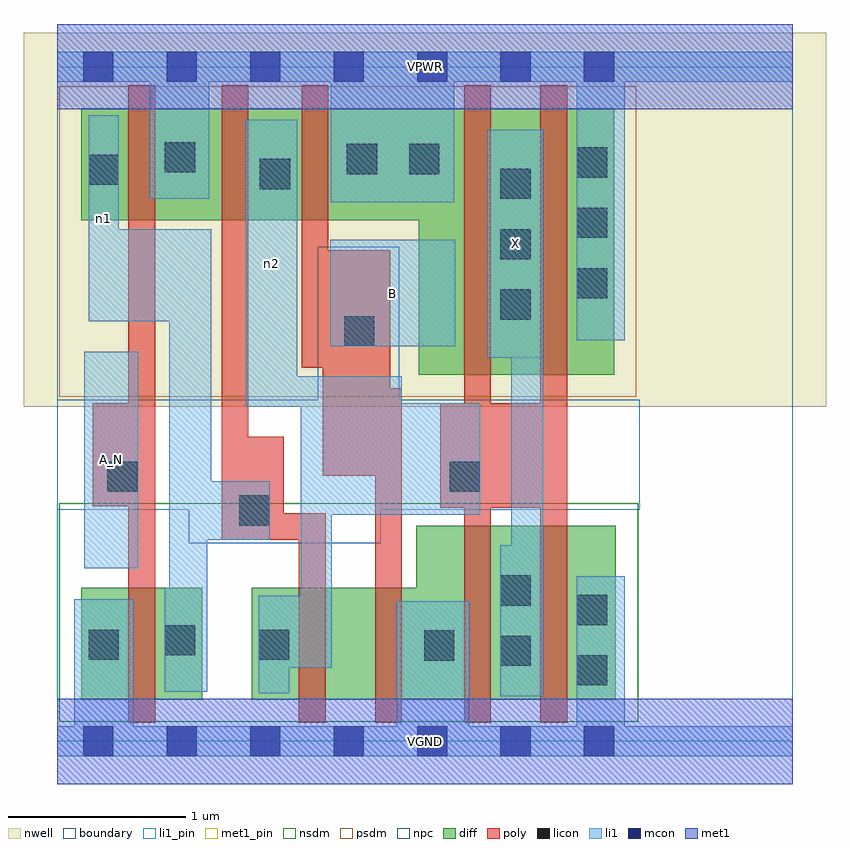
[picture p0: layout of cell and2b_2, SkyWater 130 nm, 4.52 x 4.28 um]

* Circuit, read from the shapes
.subckt and2b_2 A_N B VGND VPWR X n1 n2
XM1 n1 A_N VGND VSUBS sky130_fd_pr__nfet_01v8 w=0.63 l=0.15
XM2 n3 n1 n2 VSUBS sky130_fd_pr__nfet_01v8 w=0.63 l=0.15
XM3 VGND B n3 VSUBS sky130_fd_pr__nfet_01v8 w=0.63 l=0.15
XM4 X n2 VGND VSUBS sky130_fd_pr__nfet_01v8 w=0.98 l=0.15 m=2
XM5 VPWR A_N n1 n4 sky130_fd_pr__pfet_01v8 w=0.63 l=0.15
XM6 n2 n1 VPWR n4 sky130_fd_pr__pfet_01v8 w=0.63 l=0.15
XM7 VPWR B n2 n4 sky130_fd_pr__pfet_01v8 w=0.63 l=0.15
XM8 X n2 VPWR n4 sky130_fd_pr__pfet_01v8 w=1.5 l=0.15 m=2
.ends

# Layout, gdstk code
import gdstk
lib = gdstk.Library(unit=1e-6, precision=1e-09)
def R(c, l, rs):  # rectangles x0, y0, x1, y1
    for r in rs: c.add(gdstk.rectangle(r[:2], r[2:], *l))
def A(c, l, x, y, w, h, nx, ny, dx, dy):  # array of equal rectangles
    R(c, l, [(x+i*dx, y+j*dy, x+i*dx+w, y+j*dy+h) for i in range(nx) for j in range(ny)])
nwell = (64, 20)
diff = (65, 20)
poly = (66, 20)
licon = (66, 44)
li1_pin = (67, 16)
li1 = (67, 20)
mcon = (67, 44)
met1_pin = (68, 16)
met1 = (68, 20)
nsdm = (93, 44)
psdm = (94, 20)
npc = (95, 20)
boundary = (235, 4)

and2b_2 = lib.new_cell('and2b_2')
R(and2b_2, nwell, [(-0.19,1.885,4.33,3.99), (0,1.885,4.14,3.99)])
R(and2b_2, diff, [(0.135,0.235,0.815,0.865), (1.095,0.235,3.145,0.865), (2.02,0.235,3.145,1.215), (2.035,2.065,3.135,3.565), (0.135,2.935,3.135,3.565)])
R(and2b_2, poly, [(0.4,0.105,0.55,3.695), (1.36,0.105,1.51,1.285), (1.79,0.105,1.94,1.99), (2.29,0.105,2.44,3.695), (2.72,0.105,2.87,3.695), (0.925,1.135,1.275,1.715), (0.925,1.135,1.075,3.695), (0.925,1.135,1.51,1.285), (2.155,1.315,2.87,1.905), (0.2,1.325,0.55,1.905), (1.495,1.495,1.875,2.765), (1.375,2.105,1.525,3.695)])
A(and2b_2, licon, 2.495, 2.375, 0.17, 0.17, 1, 3, 0, 0.34)
A(and2b_2, licon, 2.925, 2.495, 0.17, 0.17, 1, 3, 0, 0.34)
R(and2b_2, licon, [(2.925,0.315,3.095,0.485), (2.495,0.425,2.665,0.595), (2.065,0.455,2.235,0.625), (0.175,0.46,0.345,0.63), (1.135,0.46,1.305,0.63), (0.605,0.485,0.775,0.655), (2.925,0.655,3.095,0.825), (2.495,0.765,2.665,0.935), (1.025,1.215,1.195,1.385), (0.28,1.405,0.45,1.575), (2.21,1.405,2.38,1.575), (1.615,2.225,1.785,2.395), (1.14,3.11,1.31,3.28), (0.175,3.135,0.345,3.305), (1.63,3.195,1.8,3.365), (1.98,3.195,2.15,3.365), (0.605,3.205,0.775,3.375)])
R(and2b_2, li1_pin, [(0.15,0.975,0.455,2.195), (2.42,2.16,2.735,3.445), (1.535,2.225,2.24,2.825)])
R(and2b_2, li1, [(0,-0.085,4.14,0.085), (0.095,-0.085,0.43,0.8), (1.91,-0.085,2.32,0.79), (2.925,-0.085,3.195,0.93), (2.495,0.255,2.735,1.105), (2.555,0.255,2.735,3.445), (1.135,0.27,1.305,0.82), (0.605,0.28,0.845,0.865), (0.63,0.28,0.845,2.885), (1.135,0.415,1.545,0.82), (1.37,0.415,1.545,2.055), (0.15,0.975,0.455,2.195), (0.63,1.135,1.195,1.465), (0.63,1.135,0.865,2.885), (1.37,1.275,2.38,1.905), (1.06,1.885,1.35,3.5), (1.06,1.885,1.94,2.055), (2.42,2.16,2.735,3.445), (1.535,2.225,2.24,2.825), (2.925,2.26,3.195,3.885), (0.175,2.365,0.345,3.525), (0.175,2.365,0.865,2.885), (1.54,3.035,2.235,3.885), (0.52,3.055,0.855,3.885), (0,3.715,4.14,3.885)])
A(and2b_2, mcon, 0.145, -0.085, 0.17, 0.17, 7, 2, 0.47, 3.8)
R(and2b_2, met1_pin, [(0,-0.24,4.14,0.24), (0,3.56,4.14,4.04)])
R(and2b_2, met1, [(0,-0.24,4.14,0.24), (0,3.56,4.14,4.04)])
R(and2b_2, nsdm, [(0.01,0.11,3.27,1.34)])
R(and2b_2, psdm, [(0.01,1.94,3.26,3.69)])
R(and2b_2, npc, [(0.74,1.115,1.82,1.925), (0,1.305,3.28,1.925), (1.465,1.305,1.925,2.785)])
R(and2b_2, boundary, [(0,0,4.14,3.8)])
and2b_2.add(gdstk.Label('A_N', (0.302,1.585), layer=67, texttype=5))
and2b_2.add(gdstk.Label('B', (1.887,2.525), layer=67, texttype=5))
and2b_2.add(gdstk.Label('X', (2.577,2.802), layer=67, texttype=5))
and2b_2.add(gdstk.Label('n2', (1.205,2.692), layer=67, texttype=5))
and2b_2.add(gdstk.Label('n1', (0.26,2.945), layer=67, texttype=5))
and2b_2.add(gdstk.Label('VPWR', (2.07,3.8), layer=68, texttype=5))
and2b_2.add(gdstk.Label('VGND', (2.07,0), layer=68, texttype=5))
and2b_2.add(gdstk.Label('A_N', (0.302,1.585), layer=67, texttype=16))
and2b_2.add(gdstk.Label('B', (1.887,2.525), layer=67, texttype=16))
and2b_2.add(gdstk.Label('X', (2.577,2.802), layer=67, texttype=16))
and2b_2.add(gdstk.Label('VPWR', (2.07,3.8), layer=68, texttype=16))
and2b_2.add(gdstk.Label('VGND', (2.07,0), layer=68, texttype=16))

lib.write_gds('and2b_2.gds')
